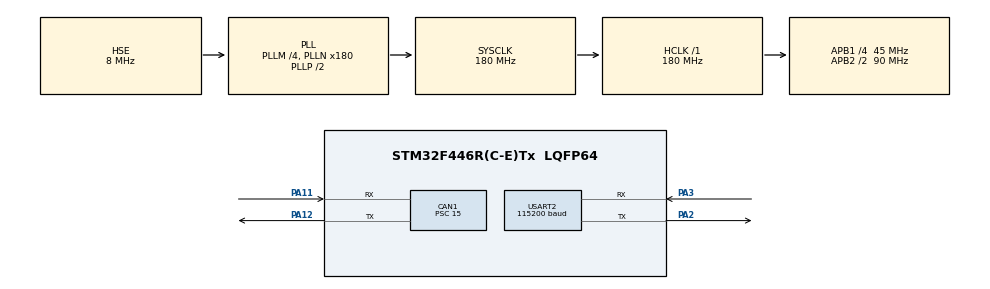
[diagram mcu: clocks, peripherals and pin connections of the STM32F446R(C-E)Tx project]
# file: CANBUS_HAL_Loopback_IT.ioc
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CAN1.BS1=CAN_BS1_2TQ
CAN1.BS2=CAN_BS2_3TQ
CAN1.CalculateTimeQuantum=333.3333333333333
CAN1.Mode=CAN_MODE_LOOPBACK
CAN1.NART=ENABLE
CAN1.Prescaler=15
CAN1.SJW=CAN_SJW_2TQ
Mcu.Family=STM32F4
Mcu.Name=STM32F446R(C-E)Tx
Mcu.Package=LQFP64
NVIC.CAN1_RX0_IRQn=true\:0\:0\:false\:false\:true\:true\:true
NVIC.CAN1_RX1_IRQn=true\:0\:0\:false\:false\:true\:true\:true
NVIC.CAN1_SCE_IRQn=true\:0\:0\:false\:false\:true\:true\:true
NVIC.CAN1_TX_IRQn=true\:0\:0\:false\:false\:true\:true\:true
NVIC.PriorityGroup=NVIC_PRIORITYGROUP_0
PA11.Mode=Master
PA11.Signal=CAN1_RX
PA12.Mode=Master
PA12.Signal=CAN1_TX
PA2.Mode=Asynchronous
PA2.Signal=USART2_TX
PA3.Mode=Asynchronous
PA3.Signal=USART2_RX
PH0-OSC_IN.Mode=HSE-External-Oscillator
PH0-OSC_IN.Signal=RCC_OSC_IN
PH1-OSC_OUT.Mode=HSE-External-Oscillator
PH1-OSC_OUT.Signal=RCC_OSC_OUT
ProjectManager.HeapSize=0x200
ProjectManager.StackSize=0x400
ProjectManager.TargetToolchain=STM32CubeIDE
RCC.48MHZClocksFreq_Value=84000000
RCC.AHBFreq_Value=180000000
RCC.APB1CLKDivider=RCC_HCLK_DIV4
RCC.APB1Freq_Value=45000000
RCC.APB1TimFreq_Value=90000000
RCC.APB2CLKDivider=RCC_HCLK_DIV2
RCC.APB2Freq_Value=90000000
RCC.APB2TimFreq_Value=180000000
RCC.CortexFreq_Value=180000000
RCC.FLatency-AdvancedSettings=FLASH_LATENCY_5
RCC.HCLKFreq_Value=180000000
RCC.HSE_VALUE=8000000
RCC.HSI_VALUE=16000000
RCC.PLLM=4
RCC.PLLN=180
RCC.PLLSourceVirtual=RCC_PLLSOURCE_HSE
RCC.SYSCLKFreq_VALUE=180000000
RCC.SYSCLKSource=RCC_SYSCLKSOURCE_PLLCLK
RCC.USBFreq_Value=180000000
RCC.VCOOutputFreq_Value=360000000
USART2.BaudRate=115200
USART2.VirtualMode=VM_ASYNC
board=NUCLEO-F446RE

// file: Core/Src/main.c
/* USER CODE BEGIN Header */
/**
  ******************************************************************************
  * @file           : main.c
  * @brief          : Main program body
  ******************************************************************************
  * @attention
  *
  * <h2><center>&copy; Copyright (c) 2021 STMicroelectronics.
  * All rights reserved.</center></h2>
  *
  * This software component is licensed by ST under BSD 3-Clause license,
  * the "License"; You may not use this file except in compliance with the
  * License. You may obtain a copy of the License at:
  *                        opensource.org/licenses/BSD-3-Clause
  *
  ******************************************************************************
  */
/* USER CODE END Header */
#include "main.h"

/* USER CODE BEGIN Includes */
#include "string.h"
#include <stdlib.h>
/* USER CODE END Includes */

CAN_HandleTypeDef hcan1;

UART_HandleTypeDef huart2;

void SystemClock_Config(void);
static void MX_GPIO_Init(void);
static void MX_CAN1_Init(void);
static void MX_USART2_UART_Init(void);

/* USER CODE BEGIN 0 */

CAN_TxHeaderTypeDef TxHeader;
CAN_RxHeaderTypeDef RxHeader;
CAN_FilterTypeDef can1_filter_init;

uint32_t TxMailBox;

uint8_t TxData[] = {'H','E','L','L','O'};

char msg[50];

void CAN1_Init(void)
{
	  TxHeader.DLC = 5;
	  TxHeader.ExtId = 0;
	  TxHeader.IDE = CAN_ID_STD;
	  TxHeader.RTR = CAN_RTR_DATA;
	  TxHeader.StdId = 0x446;
	  TxHeader.TransmitGlobalTime = DISABLE;
}
void CAN_FilterConfig(void)
{
	can1_filter_init.FilterActivation = ENABLE;
	can1_filter_init.FilterBank = 0;
	can1_filter_init.FilterFIFOAssignment = CAN_RX_FIFO0;
	can1_filter_init.FilterIdHigh = 0x0000;
	can1_filter_init.FilterIdLow = 0x0000;
	can1_filter_init.FilterMaskIdHigh = 0x0000;
	can1_filter_init.FilterMaskIdLow = 0x0000;
	can1_filter_init.FilterMode = CAN_FILTERMODE_IDMASK;
	can1_filter_init.FilterScale = CAN_FILTERSCALE_32BIT;

	if(HAL_CAN_ConfigFilter(&hcan1, &can1_filter_init) != HAL_OK)
	{
		Error_Handler();
	}
}

void HAL_CAN_TxMailbox0CompleteCallback(CAN_HandleTypeDef *hcan)
{
	sprintf(msg,"Message Transmitted:M0\r\n");
	HAL_UART_Transmit(&huart2, (uint8_t*)msg, strlen(msg), HAL_MAX_DELAY);
}

void HAL_CAN_TxMailbox1CompleteCallback(CAN_HandleTypeDef *hcan)
{
	sprintf(msg,"Message Transmitted:M1\r\n");
	HAL_UART_Transmit(&huart2, (uint8_t*)msg, strlen(msg), HAL_MAX_DELAY);
}

void HAL_CAN_TxMailbox2CompleteCallback(CAN_HandleTypeDef *hcan)
{
	sprintf(msg,"Message Transmitted:M2\r\n");
	HAL_UART_Transmit(&huart2, (uint8_t*)msg, strlen(msg), HAL_MAX_DELAY);
}

void HAL_CAN_RxFifo0MsgPendingCallback(CAN_HandleTypeDef *hcan)
{
	uint8_t rcvd_msg[5];

		if(HAL_CAN_GetRxMessage(&hcan1, CAN_RX_FIFO0, &RxHeader, rcvd_msg) != HAL_OK)
		{
			Error_Handler();
		}

		 sprintf(msg,"Message Transmitted: %s \r\n",rcvd_msg);
		 HAL_UART_Transmit(&huart2, (uint8_t*)msg, strlen(msg), HAL_MAX_DELAY);
}

void HAL_CAN_ErrorCallback(CAN_HandleTypeDef *hcan)
{
	sprintf(msg,"CAN Error Detected\r\n");
	HAL_UART_Transmit(&huart2, (uint8_t*)msg, strlen(msg), HAL_MAX_DELAY);
}

void CAN1_Tx(void)
{
	 if(	HAL_CAN_AddTxMessage(&hcan1, &TxHeader, TxData, &TxMailBox) != HAL_OK)
	  {
		  Error_Handler();
	  }

}

/* USER CODE END 0 */

int main(void)
{

  /* MCU Configuration--------------------------------------------------------*/

  /* Reset of all peripherals, Initializes the Flash interface and the Systick. */
  HAL_Init();

  /* Configure the system clock */
  SystemClock_Config();

  /* Initialize all configured peripherals */
  MX_GPIO_Init();
  MX_CAN1_Init();
  MX_USART2_UART_Init();
  /* USER CODE BEGIN 2 */
  CAN1_Init();
  CAN_FilterConfig();

  if(HAL_CAN_ActivateNotification(&hcan1, CAN_IT_TX_MAILBOX_EMPTY | CAN_IT_RX_FIFO0_MSG_PENDING | CAN_IT_BUSOFF))
  {
	  Error_Handler();
  }
  HAL_CAN_Start(&hcan1);

  CAN1_Tx();

  /* USER CODE END 2 */

  /* Infinite loop */
  while (1)
  {

  }
}

void SystemClock_Config(void)
{
  RCC_OscInitTypeDef RCC_OscInitStruct = {0};
  RCC_ClkInitTypeDef RCC_ClkInitStruct = {0};

  /** Configure the main internal regulator output voltage
  */
  __HAL_RCC_PWR_CLK_ENABLE();
  __HAL_PWR_VOLTAGESCALING_CONFIG(PWR_REGULATOR_VOLTAGE_SCALE1);
  /** Initializes the RCC Oscillators according to the specified parameters
  * in the RCC_OscInitTypeDef structure.
  */
  RCC_OscInitStruct.OscillatorType = RCC_OSCILLATORTYPE_HSE;
  RCC_OscInitStruct.HSEState = RCC_HSE_ON;
  RCC_OscInitStruct.PLL.PLLState = RCC_PLL_ON;
  RCC_OscInitStruct.PLL.PLLSource = RCC_PLLSOURCE_HSE;
  RCC_OscInitStruct.PLL.PLLM = 4;
  RCC_OscInitStruct.PLL.PLLN = 180;
  RCC_OscInitStruct.PLL.PLLP = RCC_PLLP_DIV2;
  RCC_OscInitStruct.PLL.PLLQ = 2;
  RCC_OscInitStruct.PLL.PLLR = 2;
  if (HAL_RCC_OscConfig(&RCC_OscInitStruct) != HAL_OK)
  {
    Error_Handler();
  }
  /** Activate the Over-Drive mode
  */
  if (HAL_PWREx_EnableOverDrive() != HAL_OK)
  {
    Error_Handler();
  }
  /** Initializes the CPU, AHB and APB buses clocks
  */
  RCC_ClkInitStruct.ClockType = RCC_CLOCKTYPE_HCLK|RCC_CLOCKTYPE_SYSCLK
                              |RCC_CLOCKTYPE_PCLK1|RCC_CLOCKTYPE_PCLK2;
  RCC_ClkInitStruct.SYSCLKSource = RCC_SYSCLKSOURCE_PLLCLK;
  RCC_ClkInitStruct.AHBCLKDivider = RCC_SYSCLK_DIV1;
  RCC_ClkInitStruct.APB1CLKDivider = RCC_HCLK_DIV4;
  RCC_ClkInitStruct.APB2CLKDivider = RCC_HCLK_DIV2;

  if (HAL_RCC_ClockConfig(&RCC_ClkInitStruct, FLASH_LATENCY_5) != HAL_OK)
  {
    Error_Handler();
  }
}

static void MX_CAN1_Init(void)
{

  hcan1.Instance = CAN1;
  hcan1.Init.Prescaler = 15;
  hcan1.Init.Mode = CAN_MODE_LOOPBACK;
  hcan1.Init.SyncJumpWidth = CAN_SJW_2TQ;
  hcan1.Init.TimeSeg1 = CAN_BS1_2TQ;
  hcan1.Init.TimeSeg2 = CAN_BS2_3TQ;
  hcan1.Init.TimeTriggeredMode = DISABLE;
  hcan1.Init.AutoBusOff = DISABLE;
  hcan1.Init.AutoWakeUp = DISABLE;
  hcan1.Init.AutoRetransmission = ENABLE;
  hcan1.Init.ReceiveFifoLocked = DISABLE;
  hcan1.Init.TransmitFifoPriority = DISABLE;
  if (HAL_CAN_Init(&hcan1) != HAL_OK)
  {
    Error_Handler();
  }
  /* USER CODE BEGIN CAN1_Init 2 */
  CAN_FilterTypeDef canfilterconfig;

    canfilterconfig.FilterActivation = CAN_FILTER_ENABLE;
    canfilterconfig.FilterBank = 18;  // which filter bank to use from the assigned ones
    canfilterconfig.FilterFIFOAssignment = CAN_FILTER_FIFO0;
    canfilterconfig.FilterIdHigh = 0x103<<5;
    canfilterconfig.FilterIdLow = 0;
    canfilterconfig.FilterMaskIdHigh = 0x100<<5;
    canfilterconfig.FilterMaskIdLow = 0x0000;
    canfilterconfig.FilterMode = CAN_FILTERMODE_IDMASK;
    canfilterconfig.FilterScale = CAN_FILTERSCALE_32BIT;
    canfilterconfig.SlaveStartFilterBank = 20;  // how many filters to assign to the CAN1 (master can)

    HAL_CAN_ConfigFilter(&hcan1, &canfilterconfig);
  /* USER CODE END CAN1_Init 2 */

}

static void MX_USART2_UART_Init(void)
{

  huart2.Instance = USART2;
  huart2.Init.BaudRate = 115200;
  huart2.Init.WordLength = UART_WORDLENGTH_8B;
  huart2.Init.StopBits = UART_STOPBITS_1;
  huart2.Init.Parity = UART_PARITY_NONE;
  huart2.Init.Mode = UART_MODE_TX_RX;
  huart2.Init.HwFlowCtl = UART_HWCONTROL_NONE;
  huart2.Init.OverSampling = UART_OVERSAMPLING_16;
  if (HAL_UART_Init(&huart2) != HAL_OK)
  {
    Error_Handler();
  }

}

static void MX_GPIO_Init(void)
{

  /* GPIO Ports Clock Enable */
  __HAL_RCC_GPIOH_CLK_ENABLE();
  __HAL_RCC_GPIOA_CLK_ENABLE();

}

void Error_Handler(void)
{
}

/************************ (C) COPYRIGHT STMicroelectronics *****END OF FILE****/
